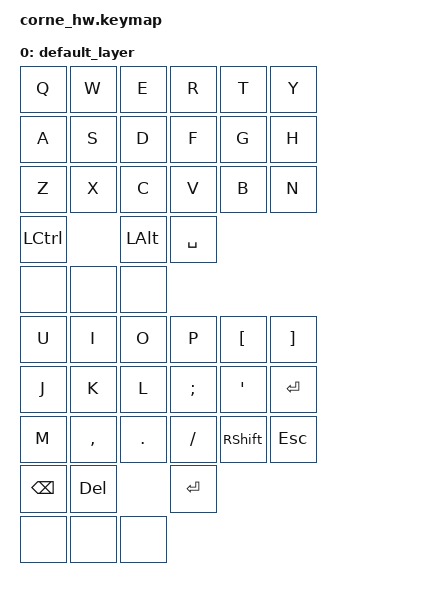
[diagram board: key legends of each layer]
/ {
    keymap {
        compatible = "zmk,keymap";

        default_layer {

            bindings = <
                // LEFT HALF

                // Row 1
                &kp Q &kp W &kp E &kp R &kp T &kp Y
                // Row 2
                &kp A &kp S &kp D &kp F &kp G &kp H
                // Row 3
                &kp Z &kp X &kp C &kp V &kp B &kp N
                // Row 4 (thumb row – only first 3 exist)
                &kp LCTRL &kp LALT &kp SPACE
                &none &none &none

                // RIGHT HALF

                // Row 1
                &kp U &kp I &kp O &kp P &kp LBKT &kp RBKT
                // Row 2
                &kp J &kp K &kp L &kp SEMI &kp SQT &kp RET
                // Row 3
                &kp M &kp COMMA &kp DOT &kp FSLH &kp RSHIFT &kp ESC
                // Row 4 (thumb row – first 3 exist)
                &kp BSPC &kp DEL &kp ENTER
                &none &none &none
            >;
        };
    };
};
